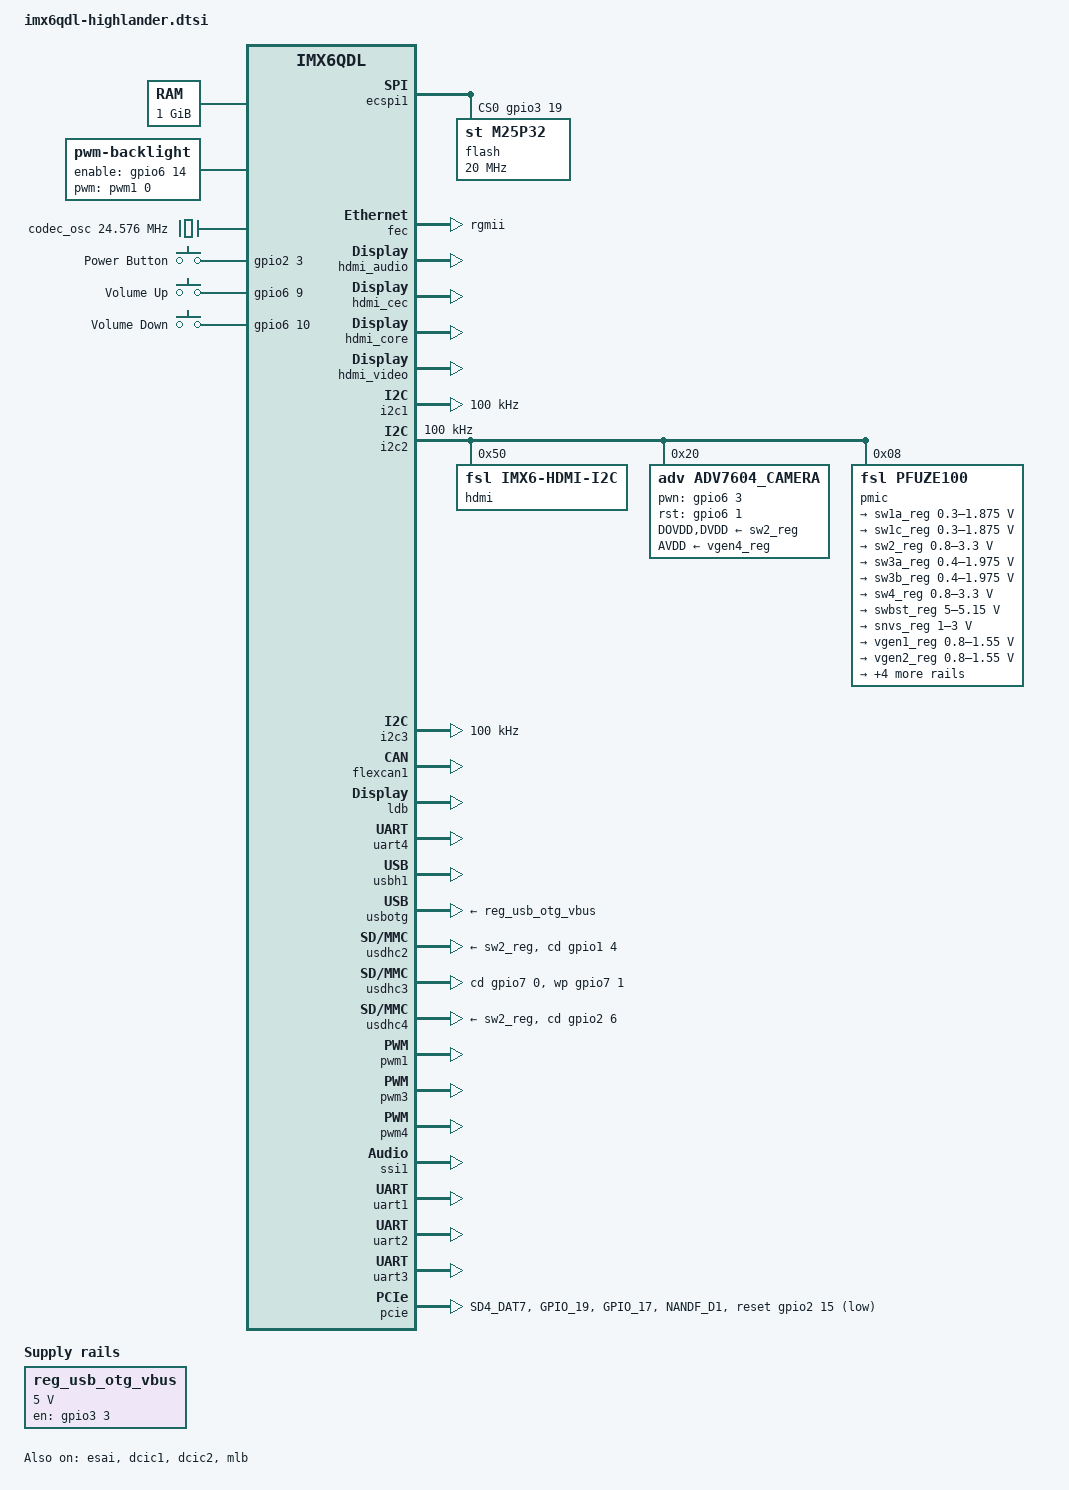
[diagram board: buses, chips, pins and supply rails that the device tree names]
/*
 * Copyright 2014 Synexxus Devices
 * Copyright 2012 Freescale Semiconductor, Inc.
 *
 * The code contained herein is licensed under the GNU General Public
 * License. You may obtain a copy of the GNU General Public License
 * Version 2 or later at the following locations:
 *
 * http://www.opensource.org/licenses/gpl-license.html
 * http://www.gnu.org/copyleft/gpl.html
 */

#include <dt-bindings/input/input.h>

/ {
	aliases {
		/*
		mxcfb0 = &mxcfb1;
		mxcfb1 = &mxcfb2;
		mxcfb2 = &mxcfb3;
		mxcfb3 = &mxcfb4;
		*/
                mxcfb0 = &hdmi_display;
                mxcfb1 = &lvds_display;
                mxcfb2 = &lcd_display;
                mxcfb3 = &lvds_display_2;
		hdmi_display = &hdmi_display;
		lvds_display = &lvds_display;
		lcd_display = &lcd_display;
		hannstar = &XGA_LVDS0;

		lvds_display_2 = &lvds_display_2;
		hannstar_2 = &XGA_LVDS1;
		ldb = &ldb;
	};

	memory {
		reg = <0x10000000 0x40000000>;
	};

	backlight {
		compatible = "pwm-backlight";
		//pwms = <&pwm1 0 5000000>;
		pwms = <&pwm1 0 5000000>;
		brightness-levels = <0 2 4 8 16 32 48 64 72 96 128 140 196 224 255>;
		default-brightness-level = <9>;

		// This is the LVDS_PANEL_EN (DISP_PWR_EN Net)
		// Was &gpio6 14 0 for the Highlander board & on Aristeus
		enable-gpios = <&gpio6 14 0>;
	};

	clocks {
		codec_osc: anaclk2 {
			compatible = "fixed-clock";
			#clock-cells = <0>;
			clock-frequency = <24576000>;
		};
	};

	regulators {
		compatible = "simple-bus";

		reg_usb_otg_vbus: usb_otg_vbus {
			compatible = "regulator-fixed";
			regulator-name = "usb_otg_vbus";
			regulator-min-microvolt = <5000000>;
			regulator-max-microvolt = <5000000>;
			gpio = <&gpio3 3 0>;		// Change dto dummy search button
			enable-active-high;
		};

	};

	gpio-keys {
		compatible = "gpio-keys";
		power {
			label = "Power Button";
			gpios = <&gpio2 3 0>;
			linux,code = <116>; /* KEY_POWER */
			gpio-key,wakeup;
		};

		volume-up {
			label = "Volume Up";
			gpios = <&gpio6 9 0>;
			linux,code = <115>; /* KEY_VOLUMEUP */
		};

		volume-down {
			label = "Volume Down";
			gpios = <&gpio6 10 0>;
			linux,code = <114>; /* KEY_VOLUMEDOWN */
		};
	};

/*
	mxcfb1: fb@0 {
		compatible = "fsl,mxc_sdc_fb";
		disp_dev = "ldb";
		interface_pix_fmt = "RGB666";
		default_bpp = <16>;
		int_clk = <0>;
		late_init = <0>;
		status = "disabled";
	};

	mxcfb2: fb@1 {
		compatible = "fsl,mxc_sdc_fb";
		disp_dev = "hdmi";
		interface_pix_fmt = "RGB24";
		mode_str ="1920x1080M@60";
		default_bpp = <24>;
		int_clk = <0>;
		late_init = <0>;
		status = "disabled";
	};

	mxcfb3: fb@2 {
		compatible = "fsl,mxc_sdc_fb";
		disp_dev = "lcd";
		interface_pix_fmt = "RGB565";
		mode_str ="CLAA-WVGA";
		default_bpp = <16>;
		int_clk = <0>;
		late_init = <0>;
		status = "disabled";
	};

	mxcfb4: fb@3 {
		compatible = "fsl,mxc_sdc_fb";
		disp_dev = "ldb";
		interface_pix_fmt = "RGB666";
		default_bpp = <16>;
		int_clk = <0>;
		late_init = <0>;
		status = "disabled";
	};
*/

	hdmi_display: fb@0 {
		compatible = "fsl,mxc_sdc_fb";
		disp_dev = "hdmi";
		interface_pix_fmt = "RGB24";
		mode_str ="1280x720M@60";
		default_bpp = <32>;
		int_clk = <0>;
		late_init = <0>;
		status = "disabled";
	};

	lvds_display: fb@1 {
		compatible = "fsl,mxc_sdc_fb";
		disp_dev = "ldb";
		interface_pix_fmt = "RGB666";
		default_bpp = <16>;
		int_clk = <0>;
		late_init = <0>;
		status = "disabled";
	};

	lcd_display: fb@2 {
		compatible = "fsl,mxc_sdc_fb";
		disp_dev = "lcd";
		interface_pix_fmt = "RGB666";
		default_bpp = <16>;
		int_clk = <0>;
		late_init = <0>;
		status = "disabled";
	};

	lvds_display_2: fb@3 {
		compatible = "fsl,mxc_sdc_fb";
		disp_dev = "ldb";
		interface_pix_fmt = "RGB666";
		default_bpp = <16>;
		int_clk = <0>;
		late_init = <0>;
		status = "disabled";
	};

	lcd0: lcd@0 {
		compatible = "fsl,lcd";
		ipu_id = <0>;
		disp_id = <0>;
		default_ifmt = "RGB666";
		pinctrl-names = "default";
		pinctrl-0 = <&pinctrl_ipu1_4>;
		status = "okay";
	};

	sound-hdmi {
		compatible = "fsl,imx6q-audio-hdmi",
			     "fsl,imx-audio-hdmi";
		model = "imx-audio-hdmi";
		hdmi-controller = <&hdmi_audio>;
	};

	v4l2_cap_0 {
		compatible = "fsl,imx6q-v4l2-capture";
		/* CHANGE TO 0 and 0 for PERICOM*/
		ipu_id = <1>;
		csi_id = <1>;
		mclk_source = <0>;
		status = "disabled";
	};

	v4l2_out {
		compatible = "fsl,mxc_v4l2_output";
		status = "okay";
	};
};


/*
	//Highlander uses AUDMUX4 out of the SD2 area
&audmux {
	pinctrl-names = "default";
	pinctrl-0 = <&pinctrl_audmux_4>;
	status = "okay";
};
*/

&ecspi1 {
	fsl,spi-num-chipselects = <1>;
	cs-gpios = <&gpio3 19 0>;
	pinctrl-names = "default";
	pinctrl-0 = <&pinctrl_ecspi1_1 &pinctrl_ecspi1_cs_1>;

	flash: m25p80@0 {
		#address-cells = <1>;
		#size-cells = <1>;
		compatible = "st,m25p32";
		spi-max-frequency = <20000000>;
		reg = <0>;
	};
};

&esai {
	pinctrl-names = "default";
	pinctrl-0 = <&pinctrl_esai_2>;
	status = "okay";
};

&fec {
	pinctrl-names = "default";
//	pinctrl-0 = <&pinctrl_enet_1>;
	pinctrl-0 = <&pinctrl_enet_4>;         /* original had _4 */
	phy-mode = "rgmii";
	status = "okay";
};

&gpc {
	fsl,cpu_pupscr_sw2iso = <0xf>;
	fsl,cpu_pupscr_sw = <0xf>;
	fsl,cpu_pdnscr_iso2sw = <0x1>;
	fsl,cpu_pdnscr_iso = <0x1>;
	fsl,ldo-bypass = <0>; /* use ldo-bypass, u-boot will check it and configure */
	fsl,wdog-reset = <2>; /* watchdog select of reset source */
	/*pu-supply = <&pu_dummy>;*/ /* ldo-bypass:use pu_dummy if VDDSOC share with VDDPU */
	pu-supply=<&reg_pu>;
};

&gpu {
	/*pu-supply = <&pu_dummy>;*/ /* ldo-bypass:use pu_dummy if VDDSOC share with VDDPU */
	pu-supply=<&reg_pu>;
};

/* Added from imx6qdl-sabresd.dtsi reference*/
&vpu {
	/*pu-supply = <&pu_dummy>;*/ /* ldo-bypass:use pu_dummy if VDDSOC share with VDDPU */
	pu-supply=<&reg_pu>;
};

&hdmi_audio {
    status = "okay";
};

&hdmi_cec {
    pinctrl-names = "default";
    // pinctrl-0 = <&pinctrl_hdmi_cec_2>; // Use KEY_ROW2 for CEC_IN
    pinctrl-0 = <&pinctrl_hdmi_cec_1>;	// Use EIM_A25 for CEC_IN
    status = "okay";
};

&hdmi_core {
    ipu_id = <0>;
    disp_id = <1>;
    status = "okay";
};

&hdmi_video {
    fsl,phy_reg_vlev = <0x0294>;
    fsl,phy_reg_cksymtx = <0x800d>;
    status = "okay";
};


&i2c1 {
    clock-frequency = <100000>;
    pinctrl-names = "default";
    pinctrl-0 = <&pinctrl_i2c1_1>;
    status = "okay";


};


&i2c2 {
	clock-frequency = <100000>;
	pinctrl-names = "default";
	pinctrl-0 = <&pinctrl_i2c2_2>;
	status = "okay";

	hdmi: edid@50 {
		compatible = "fsl,imx6-hdmi-i2c";
		reg = <0x50>;
	};

	adv7604_camera: adv7604_camera@20 { /* i2c1 driver */
		compatible = "adv,adv7604_camera";
		reg = <0x20>;
		pinctrl-names = "default";
		pinctrl-0 = <&pinctrl_ipu2_2>;
		clocks = <&clks 201>;
		clock-names = "csi_mclk";
		DOVDD-supply = <&sw2_reg>; /* 3.3v */
		AVDD-supply = <&vgen4_reg>;  /* 1.8v */
		DVDD-supply = <&sw2_reg>;  /* 1.8v */
		//pwn-gpios = <&gpio6 9 1>;   /* Not True */
		//rst-gpios = <&gpio1 4 0>;   /* Reset Signal */
		//pwn-gpios = <&gpio5 27 1>;	/* ARISTEUS TEST BOARD POWER DOWN */
		pwn-gpios = <&gpio6 3 0>;	/* ARISTEUS TEST BOARD POWER DOWN #2*/
		rst-gpios = <&gpio6 1 0>;	/* ARISTEUS TEST BOARD RESET */
		ipu_id = <1>;
		csi_id = <1>;
		//mclk = <24000000>;		// Gated Mode
		mclk = <0>;			// BT.656
		mclk_source = <0>;
	};

	pmic: pfuze100@08 {
		compatible = "fsl,pfuze100";
			reg = <0x08>;

			regulators {
				sw1a_reg: sw1ab {
				regulator-min-microvolt = <300000>;
				regulator-max-microvolt = <1875000>;
				regulator-boot-on;
				regulator-always-on;
				regulator-ramp-delay = <6250>;
			};

			sw1c_reg: sw1c {
				regulator-min-microvolt = <300000>;
				regulator-max-microvolt = <1875000>;
				regulator-boot-on;
				regulator-always-on;
				regulator-ramp-delay = <6250>;
			};

			sw2_reg: sw2 {
				regulator-min-microvolt = <800000>;
				regulator-max-microvolt = <3300000>;
				regulator-boot-on;
				regulator-always-on;
			};

			sw3a_reg: sw3a {
				regulator-min-microvolt = <400000>;
				regulator-max-microvolt = <1975000>;
				regulator-boot-on;
				regulator-always-on;
			};

			sw3b_reg: sw3b {
				regulator-min-microvolt = <400000>;
				regulator-max-microvolt = <1975000>;
				regulator-boot-on;
				regulator-always-on;
			};

			sw4_reg: sw4 {
				regulator-min-microvolt = <800000>;
				regulator-max-microvolt = <3300000>;
			};

			swbst_reg: swbst {
				regulator-min-microvolt = <5000000>;
				regulator-max-microvolt = <5150000>;
			};

			snvs_reg: vsnvs {
				regulator-min-microvolt = <1000000>;
				regulator-max-microvolt = <3000000>;
				regulator-boot-on;
				regulator-always-on;
			};

			vref_reg: vrefddr {
				regulator-boot-on;
				regulator-always-on;
			};

			vgen1_reg: vgen1 {
				regulator-min-microvolt = <800000>;
				regulator-max-microvolt = <1550000>;
			};

			vgen2_reg: vgen2 {
				regulator-min-microvolt = <800000>;
				regulator-max-microvolt = <1550000>;
			};

			vgen3_reg: vgen3 {
				regulator-min-microvolt = <1800000>;
				regulator-max-microvolt = <3300000>;
			};

			vgen4_reg: vgen4 {
				regulator-min-microvolt = <1800000>;
				regulator-max-microvolt = <3300000>;
				regulator-always-on;
			};

			vgen5_reg: vgen5 {
				regulator-min-microvolt = <1800000>;
				regulator-max-microvolt = <3300000>;
				regulator-always-on;
			};

			vgen6_reg: vgen6 {
				regulator-min-microvolt = <1800000>;
				regulator-max-microvolt = <3300000>;
				regulator-always-on;
			};
		};
	};

};

&i2c3 {
	clock-frequency = <100000>;
	pinctrl-names = "default";
	pinctrl-0 = <&pinctrl_i2c3_3>;
	status = "okay";

};

&iomuxc {
	pinctrl-names = "default";
	pinctrl-0 = <&pinctrl_hog_1>;

	imx6q-aristeus {
		pinctrl_hog_1: hoggrp-1 {
			fsl,pins = <
				MX6QDL_PAD_GPIO_19__GPIO4_IO05          0x1b0b0		/* CAN STBY */
				MX6QDL_PAD_EIM_D19__GPIO3_IO19      	0x80000000  	/* spi-nor CS1 */
				MX6QDL_PAD_ENET_RXD0__GPIO1_IO27    	0x000b0     	/* ethernet phy reset */
				MX6QDL_PAD_ENET_TX_EN__GPIO1_IO28   	0x1b0b0     	/* ethernet phy interrupt */
				MX6QDL_PAD_SD3_DAT5__GPIO7_IO00     	0x80000000  	/* USDHC3 CD */
				MX6QDL_PAD_GPIO_17__GPIO7_IO12      	0x0b0b0       	/* USB Hub Reset */

				/* Highlander GPIO Output*/
				MX6QDL_PAD_SD1_DAT0__GPIO1_IO16      	0x80000000     	/* GPIO1 IO16:  Signal Output ATX_12V_PWR_EN */
				MX6QDL_PAD_ENET_TXD0__GPIO1_IO30      	0x80000000     	/* GPIO1 IO30:  Signal Output PWRDN# to ADV7604 */
				MX6QDL_PAD_ENET_TXD1__GPIO1_IO29      	0x80000000     	/* GPIO1 IO29:  Signal Output RESET# to ADV7604 */

				/* Highlander GPIO Input*/
				MX6QDL_PAD_ENET_RX_ER__GPIO1_IO24      	0x80000000     	/* GPIO1 IO24:  Signal Input INTERRUPT 2 from ADV7604 */
				MX6QDL_PAD_ENET_RXD0__GPIO1_IO27      	0x80000000     	/* GPIO1 IO27:  Signal Input INTERRUPT 1 from ADV7604  */

				>;
		};

		pinctrl_pcie: pciegrp {
			fsl,pins = <
				MX6QDL_PAD_SD4_DAT7__GPIO2_IO15		0x000b0		/* pcie reset */
				MX6QDL_PAD_GPIO_19__GPIO4_IO05		0x0b0b0		/* Power-on-GPIO*/
				MX6QDL_PAD_GPIO_17__GPIO7_IO12		0x0b0b0		/* False wake up signal*/
				MX6QDL_PAD_NANDF_D1__GPIO2_IO01		0x000b0		/* disable-gpio*/
			>;
		};
	};
};

&flexcan1 {
	    pinctrl-names = "default";
	    pinctrl-0 = <&pinctrl_flexcan1_1>;
	    /*trx-stby-gpio = <&gpio1 2 GPIO_ACTIVE_LOW>;*/
	    status = "okay";
	};

&flexcan2 {
	pinctrl-names = "default";
	pinctrl-0 = <&pinctrl_flexcan2_1>;
	//trx-en-gpio = <&max7310_c 6 GPIO_ACTIVE_HIGH>;
	//trx-stby-gpio = <&max7310_c 5 GPIO_ACTIVE_HIGH>;
	status = "disabled";
};

&ldb {
	compatible = "fsl,imx6q-ldb";
	//split-mode =<1>;
	dual-mode = <1>;
	status = "okay";

	lvds-channel@0 {
		crtc = "ipu1-di0";		
		fsl,data-mapping = "spwg";
		fsl,data-width = <18>;
		status = "okay";
		primary;

		display-timings {
			native-mode = <&XGA_LVDS0>;
			XGA_LVDS0: XGA-R-0 {
				clock-frequency = <65000000>;
				hactive = <1024>;
				vactive = <768>;
				hback-porch = <220>;
				hfront-porch = <40>;
				vback-porch = <21>;
				vfront-porch = <7>;
				hsync-len = <60>;
				vsync-len = <10>;
			};
			lvds0_timing1: WXGA-R {
				clock-frequency = <71000000>;
				hactive = <1280>;
				hfront-porch = <48>;
				hback-porch = <80>;
				hsync-len = <32>;
				vactive = <800>;
				vfront-porch = <3>;
				vback-porch = <14>;
				vsync-len = <6>;
			};
		};
	};

	lvds-channel@1 {
		crtc = "ipu1-di1";
		fsl,data-mapping = "spwg";
		fsl,data-width = <18>;
		status = "okay";

		display-timings {
			native-mode = <&XGA_LVDS1>;
			XGA_LVDS1:  XGA-R-1 {
				clock-frequency = <65000000>;
				hactive = <1024>;
				vactive = <768>;
				hback-porch = <220>;
				hfront-porch = <40>;
				vback-porch = <21>;
				vfront-porch = <7>;
				hsync-len = <60>;
				vsync-len = <10>;
			};
			lvds1_timing1: WXGA-R {
				clock-frequency = <71000000>;
				hactive = <1280>;
				hfront-porch = <48>;
				hback-porch = <80>;
				hsync-len = <32>;
				vactive = <800>;
				vfront-porch = <3>;
				vback-porch = <14>;
				vsync-len = <6>;
			};
		};
	};
};

&dcic1 {
	dcic_id = <0>;
	dcic_mux = "dcic-hdmi";
	status = "okay";
};

&dcic2 {
	dcic_id = <1>;
	dcic_mux = "dcic-lvds0";
	status = "okay";
};

&mlb {
	pinctrl-names = "default";
	pinctrl-0 = <&pinctrl_mlb_2>;
	status = "okay";
};

&gpmi {
	pinctrl-names = "default";
	pinctrl-0 = <&pinctrl_gpmi_nand_1>;
	status = "disabled"; /* pin conflict with uart3 */
};

&uart4 {
	pinctrl-names = "default";
	pinctrl-0 = <&pinctrl_uart4_1>;
	status = "okay";
};

&usbh1 {
//	vbus-supply = <&reg_usb_h1_vbus>;
	status = "okay";
};

&usbotg {
    vbus-supply = <&reg_usb_otg_vbus>;
    pinctrl-names = "default";
    pinctrl-0 = <&pinctrl_usbotg_2>;
    disable-over-current;
    status = "okay";
};

&usdhc2 { 
    pinctrl-names = "default";
    pinctrl-0 = <&pinctrl_usdhc2_2>;
    cd-gpios = <&gpio1 4 0>;
    vmmc-supply = <&sw2_reg>;
    status = "okay";
};

&usdhc3 {
	pinctrl-names = "default";
	pinctrl-0 = <&pinctrl_usdhc3_2>;
	cd-gpios = <&gpio7 0 0>;
	wp-gpios = <&gpio7 1 0>;
	no-1-8-v;
	keep-power-in-suspend;
	enable-sdio-wakeup;
	status = "okay";
};

&usdhc4 {
    pinctrl-names = "default";
    pinctrl-0 = <&pinctrl_usdhc4_2>;
    cd-gpios = <&gpio2 6 0>;
    vmmc-supply = <&sw2_reg>;
    status = "okay";
};

&mipi_csi {
	status = "okay";
	ipu_id = <0>;
	csi_id = <1>;
	v_channel = <0>;
	lanes = <2>;
	status = "disabled";
};

&mipi_dsi {
	dev_id = <0>;
	disp_id = <1>;
	lcd_panel = "TRULY-WVGA";
	//disp-power-on-supply = <&reg_mipi_dsi_pwr_on>;
	//resets = <&mipi_dsi_reset>;
	status = "disabled";
};

&pwm1 {
    pinctrl-names = "default";
    pinctrl-0 = <&pinctrl_pwm1_1>;
    status = "okay";
};

&pwm3 {
    pinctrl-names = "default";
    pinctrl-0 = <&pinctrl_pwm3_2>;
    status = "okay";
};

&pwm4 {
    pinctrl-names = "default";
    pinctrl-0 = <&pinctrl_pwm4_2>;
    status = "okay";
};

&ssi1 {
    fsl,mode = "i2s-slave";
    status = "okay";
};

&uart1 {
    pinctrl-names = "default";
    pinctrl-0 = <&pinctrl_uart1_2>;
    status = "okay";
};

&uart2 {
    pinctrl-names = "default";
    pinctrl-0 = <&pinctrl_uart2_3>;
    status = "okay";
};

&uart3 {
    pinctrl-names = "default";
    pinctrl-0 = <&pinctrl_uart3_3>;
    fsl,uart-has-rtscts;
    status = "okay";
};


&pcie {
	pinctrl-names = "default";
	pinctrl-0 = <&pinctrl_pcie>;
	reset-gpio = <&gpio2 15 GPIO_ACTIVE_LOW>;
	status = "okay";
};

